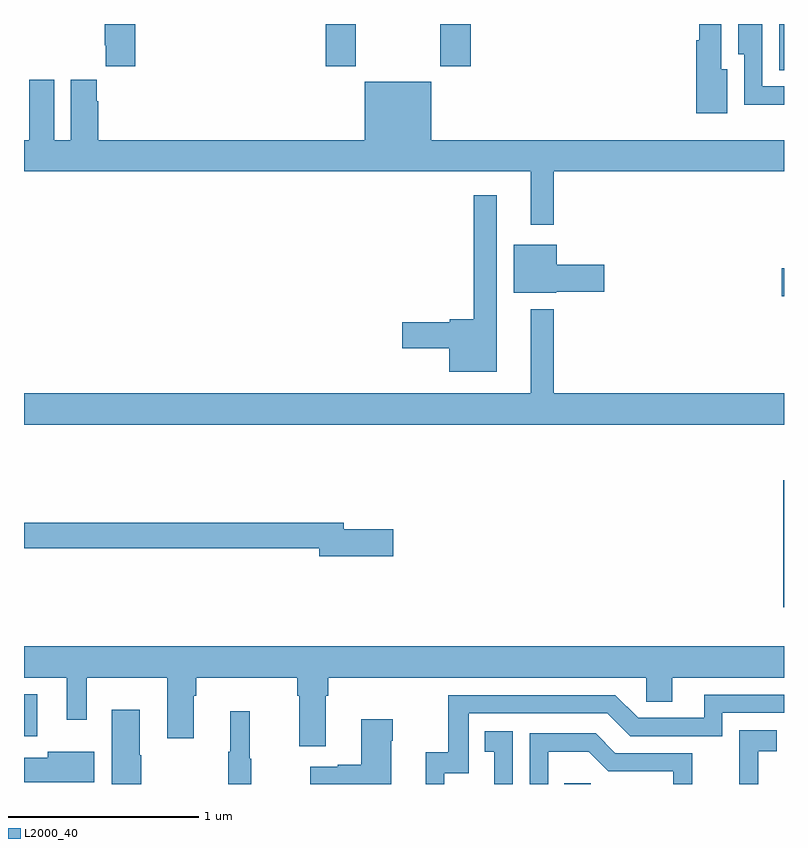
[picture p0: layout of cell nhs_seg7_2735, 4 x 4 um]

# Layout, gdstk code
import gdstk
lib = gdstk.Library(unit=1e-6, precision=1e-09)
def R(c, l, rs):  # rectangles x0, y0, x1, y1
    for r in rs: c.add(gdstk.rectangle(r[:2], r[2:], *l))
def P(c, l, *ps):  # polygons
    for p in ps: c.add(gdstk.Polygon(p, *l))
L2000_40 = (2000, 40)

nhs_seg7_2735 = lib.new_cell('nhs_seg7_2735')
R(nhs_seg7_2735, L2000_40, [(289.843,1056,289.983,1056.003), (287,1056.251,287.071,1056.472), (290.995,1056.929,291,1057.598), (290.988,1058.567,291,1058.714), (290.975,1059.757,291,1060), (288.587,1059.777,288.747,1060), (289.192,1059.777,289.352,1060)])
P(nhs_seg7_2735, L2000_40, [(287.585,1060),(287.425,1060),(287.425,1059.889),(287.429,1059.889),(287.429,1059.777),(287.585,1059.777)],
  [(290.701,1059.763),(290.671,1059.763),(290.671,1060),(290.553,1060),(290.553,1059.915),(290.537,1059.915),(290.537,1059.531),(290.701,1059.531)],
  [(291,1059.672),(290.886,1059.672),(290.886,1060),(290.759,1060),(290.759,1059.841),(290.79,1059.841),(290.79,1059.575),(291,1059.575)],
  [(289.789,1059.224),(291,1059.224),(291,1059.388),(289.144,1059.388),(289.144,1059.697),(288.794,1059.697),(288.794,1059.388),(287.39,1059.388),(287.39,1059.593),(287.383,1059.593),(287.383,1059.706),(287.246,1059.706),(287.246,1059.388),(287.158,1059.388),(287.158,1059.706),(287.027,1059.706),(287.027,1059.388),(287,1059.388),(287,1059.224),(289.667,1059.224),(289.667,1058.943),(289.789,1058.943)],
  [(289.489,1059.1),(289.368,1059.1),(289.368,1058.447),(289.242,1058.447),(289.242,1058.429),(288.99,1058.429),(288.99,1058.294),(289.238,1058.294),(289.238,1058.171),(289.489,1058.171)],
  [(289.8,1058.591),(290.053,1058.591),(290.053,1058.733),(289.804,1058.733),(289.804,1058.839),(289.577,1058.839),(289.577,1058.585),(289.8,1058.585)],
  [(291,1058.056),(289.789,1058.056),(289.789,1058.5),(289.667,1058.5),(289.667,1058.056),(287,1058.056),(287,1057.892),(291,1057.892)],
  [(288.943,1057.34),(288.682,1057.34),(288.682,1057.376),(287,1057.376),(287,1057.24),(288.554,1057.24),(288.554,1057.198),(288.943,1057.198)],
  [(288.589,1056.464),(288.602,1056.464),(288.602,1056.56),(290.274,1056.56),(290.274,1056.433),(290.413,1056.433),(290.413,1056.56),(291,1056.56),(291,1056.724),(287,1056.724),(287,1056.56),(287.225,1056.56),(287.225,1056.339),(287.329,1056.339),(287.329,1056.56),(287.753,1056.56),(287.753,1056.24),(287.893,1056.24),(287.893,1056.464),(287.906,1056.464),(287.906,1056.56),(288.437,1056.56),(288.437,1056.464),(288.449,1056.464),(288.449,1056.198),(288.589,1056.198)],
  [(289.212,1056.057),(289.341,1056.057),(289.341,1056.372),(290.07,1056.372),(290.19,1056.252),(290.676,1056.252),(290.676,1056.375),(291,1056.375),(291,1056.471),(290.579,1056.471),(290.579,1056.348),(290.232,1056.348),(290.112,1056.468),(289.233,1056.468),(289.233,1056.166),(289.115,1056.166),(289.115,1056),(289.212,1056)],
  [(287.616,1056.152),(287.608,1056.152),(287.608,1056.391),(287.462,1056.391),(287.462,1056),(287.616,1056)],
  [(288.196,1056.132),(288.188,1056.132),(288.188,1056.382),(288.086,1056.382),(288.086,1056.169),(288.075,1056.169),(288.075,1056),(288.196,1056)],
  [(288.934,1056.227),(288.942,1056.227),(288.942,1056.34),(288.776,1056.34),(288.776,1056.101),(288.65,1056.101),(288.65,1056.091),(288.507,1056.091),(288.507,1056),(288.934,1056)],
  [(290.864,1056.173),(290.962,1056.173),(290.962,1056.283),(290.764,1056.283),(290.764,1056.077),(290.765,1056.077),(290.765,1056),(290.864,1056)],
  [(289.572,1056.277),(289.426,1056.277),(289.426,1056.171),(289.475,1056.171),(289.475,1056),(289.572,1056)],
  [(289.758,1056.17),(289.972,1056.17),(290.076,1056.066),(290.418,1056.066),(290.418,1056),(290.517,1056),(290.517,1056.162),(290.113,1056.162),(290.008,1056.267),(289.662,1056.267),(289.662,1056),(289.758,1056)],
  [(287.371,1056.169),(287.126,1056.169),(287.126,1056.137),(287,1056.137),(287,1056.008),(287.371,1056.008)])

lib.write_gds('nhs_seg7_2735.gds')
